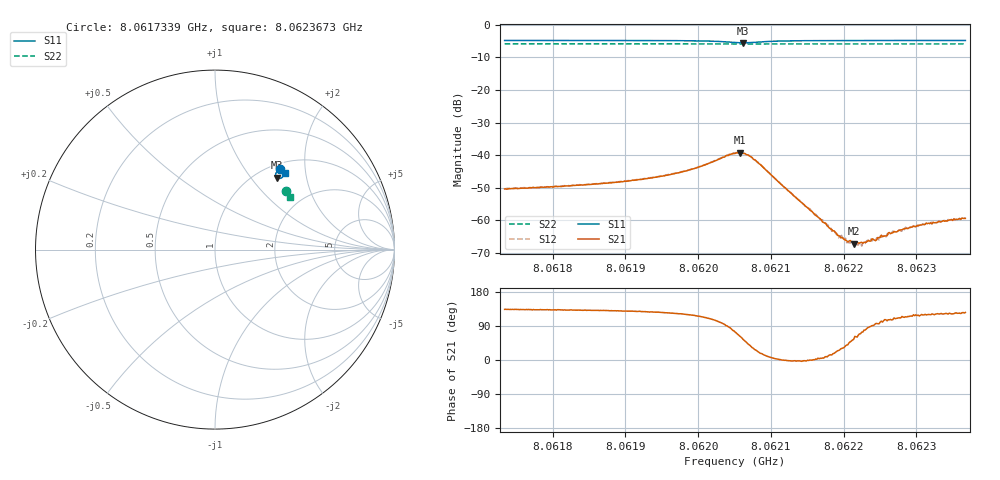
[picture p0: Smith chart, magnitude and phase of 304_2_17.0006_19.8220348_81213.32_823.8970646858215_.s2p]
#  HZ  S  RI  R  50.00
! Rohde & Schwarz Vector Network Analyzer
! Rohde-Schwarz,ZNB20-2Port,1311601062101988,3.16
! Created: UTC 3/20/2024, 11:05:44 PM
! freq[Hz]  re:S11  im:S11  re:S21  im:S21  re:S12  im:S12  re:S22  im:S22
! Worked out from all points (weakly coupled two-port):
!   401 points, 8.0617339 GHz to 8.0623673 GHz, reference 50 ohm
!   highest |S21| = -39.26 dB at 8.0620569 GHz (marker M1); lowest = -67.2 dB at 8.0622137 GHz (marker M2)
!   lowest |S11| = -5.5 dB at 8.0620617 GHz (marker M3), VSWR 3.25, Z = 61.1 + j68.1 ohm
!   |S11| at or under -10 dB: nowhere
!   |S22| runs from -5.9 to -5.8 dB; largest |S21 - S12| = 0.00078
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8.06173389e9  0.3604 0.4493  -0.00208 0.00218  -0.00196 0.00233  0.3932 0.3265
8.06183998e9  0.3677 0.4429  -0.00229 0.00261  -0.00214 0.00276  0.3973 0.3212
8.06189857e9  0.3721 0.4384  -0.0025 0.00307  -0.00236 0.00324  0.3994 0.3183
8.06194608e9  0.3762 0.4332  -0.00273 0.00376  -0.00253 0.004  0.4013 0.3159
8.06199833e9  0.3807 0.4222  -0.00284 0.00575  -0.00249 0.00596  0.403 0.3127
8.06205059e9  0.3606 0.3966  0.00288 0.0102  0.00356 0.0102  0.4037 0.3095
8.06205692e9  0.3518 0.3979  0.00483 0.00977  0.00551 0.00953  0.4034 0.3092
8.06206167e9  0.3458 0.4014  0.00617 0.00864  0.00675 0.00837  0.4035 0.3093
8.06207117e9  0.3386 0.4129  0.00754 0.00599  0.00797 0.00551  0.4036 0.3096
8.06208226e9  0.3397 0.4259  0.00708 0.00281  0.00739 0.00248  0.4043 0.3097
8.06215668e9  0.3677 0.4384  0.00135 -9.06e-06  0.00135 -0.000102  0.4082 0.3064
8.06219152e9  0.3731 0.4362  0.000534 0.000241  0.000574 0.000184  0.4095 0.3044
8.06219943e9  0.3743 0.4357  0.000441 0.000273  0.000465 0.000251  0.4098 0.304
8.06220735e9  0.3752 0.4353  0.000334 0.000342  0.000326 0.00031  0.4102 0.3036
8.06221368e9  0.3759 0.4348  0.000255 0.000355  0.000265 0.000333  0.4104 0.3034
8.0622216e9  0.3768 0.4343  0.00016 0.000415  0.000211 0.00039  0.4107 0.3029
8.06222794e9  0.3773 0.4338  8.8e-05 0.00045  0.000113 0.00042  0.4111 0.3026
8.06223427e9  0.3781 0.4335  3.28e-05 0.000489  4.11e-05 0.000476  0.4112 0.3023
8.06224535e9  0.3791 0.4328  -5.62e-05 0.000498  -2.03e-05 0.000535  0.4117 0.3017
8.06226277e9  0.3806 0.4317  -0.000179 0.000622  -0.000138 0.000606  0.4123 0.3007
8.06231661e9  0.3847 0.4287  -0.000453 0.000778  -0.000395 0.000786  0.4141 0.298
8.06236728e9  0.3882 0.4257  -0.000618 0.000869  -0.000569 0.00092  0.4157 0.2955
